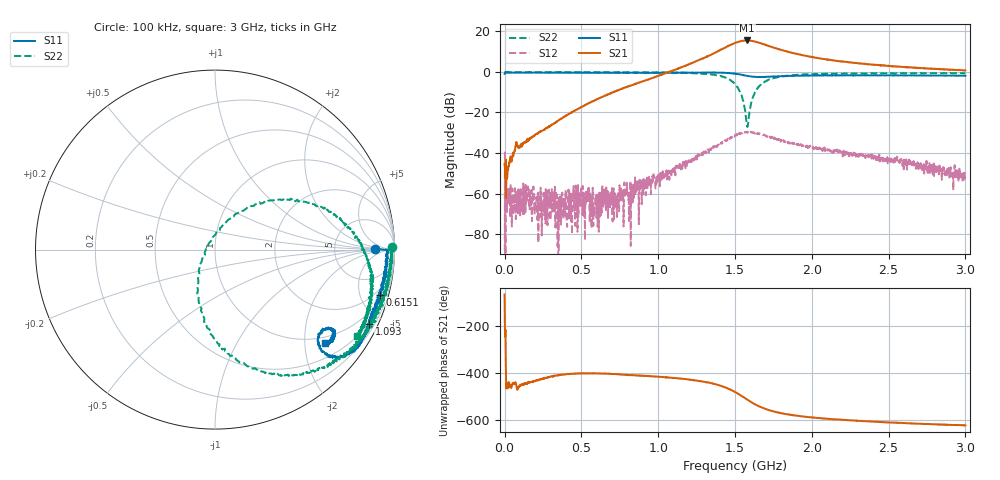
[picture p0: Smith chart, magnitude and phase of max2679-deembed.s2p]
! MAXIM INTEGRATED PRODUCTS
! MAX2679 100kHz to 3000MHz, GPS/GNSS Ultra-low Current Low-Noise Amplifier
! MAX2679 Typical Scattering Parameters at Vcc=+1.8V, 100kHz to 3000MHz, TA = +25C
! Notes: This data is measured using MAX2679 EV KIT.
!  The measurements are referenced at the input pin of the IC using De-embedding
# Hz S dB R 50
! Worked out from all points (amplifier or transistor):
!   1601 points, 100 kHz to 3 GHz, reference 50 ohm
!   highest |S21| = 15.5 dB at 1.579 GHz (marker M1)
!   |S21| within 3 dB of that: 1.448 GHz to 1.73 GHz (282.1 MHz wide, 17.8 % of centre)
!   unconditionally stable (mu >= 1): start of sweep to 1.284 GHz; 1.439 GHz to 1.472 GHz; 1.519 GHz to end of sweep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
!   at 498.8 MHz: K = 6.59, MAG = 8.4 dB, |S12| = -56.6 dB
!   at 1.5 GHz: K = 1.03, MAG = 21.7 dB, |S12| = -31.2 dB
!   at 3 GHz: K = 8.50, MAG = 13.5 dB, |S12| = -50.9 dB
!   S11 on the Smith chart (normalised r, x): 100 kHz: 17, +1; 615.1 MHz: 1.33, -7.18; 1.093 GHz: 0.46, -4.33; 3 GHz: 0.83, -2.46
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100000  -0.99 0.3  -45.51 -64.0  -200.00 0.0  -0.14 0.7
1.697444e7  -0.35 -0.8  -52.06 -104.8  -60.22 33.9  -0.06 -0.5
8.072231e7  -0.38 -2.2  -35.48 -105.7  -62.40 91.9  -0.16 -2.1
3.132146e8  -0.41 -8.0  -25.78 -53.4  -59.60 180.0  -0.17 -7.1
3.582131e8  -0.36 -9.4  -23.57 -48.3  -67.51 141.4  -0.12 -8.3
5.007083e8  -0.41 -12.6  -17.26 -41.7  -59.33 -107.7  -0.21 -11.4
6.150795e8  -0.43 -15.4  -13.03 -41.0  -59.96 -120.4  -0.23 -14.9
1.001317e9  -0.49 -23.8  -1.91 -56.0  -50.26 -123.2  -0.38 -27.1
1.093189e9  -0.40 -25.7  0.58 -60.2  -49.39 -123.6  -0.41 -31.1
1.243184e9  -0.35 -29.6  5.13 -71.5  -42.77 -144.0  -0.69 -41.1
1.368804e9  -0.36 -34.3  9.33 -86.7  -36.60 -156.0  -1.50 -55.8
1.438177e9  -0.46 -38.0  12.04 -101.1  -33.88 -167.8  -2.88 -69.8
1.50005e9  -0.92 -41.9  14.20 -120.9  -31.24 175.0  -6.04 -89.9
1.537549e9  -1.35 -43.4  15.09 -135.4  -30.16 160.4  -10.60 -108.1
1.578797e9  -2.00 -42.7  15.47 -153.2  -29.82 141.4  -25.91 167.6
1.631296e9  -2.49 -40.1  14.95 -173.6  -30.30 120.1  -10.02 50.2
1.676294e9  -2.51 -37.2  13.86 172.8  -30.68 105.6  -5.75 32.2
1.721293e9  -2.36 -35.6  12.77 162.2  -32.14 97.0  -3.78 20.7
1.846913e9  -2.05 -34.5  9.81 143.0  -35.10 82.1  -1.85 2.7
2.000658e9  -1.76 -35.6  7.31 130.2  -36.89 71.1  -1.15 -8.5
2.501267e9  -1.77 -39.4  2.91 109.0  -43.02 55.4  -0.63 -23.8
3e9  -1.90 -40.5  0.74 96.7  -50.88 74.4  -0.67 -31.5
